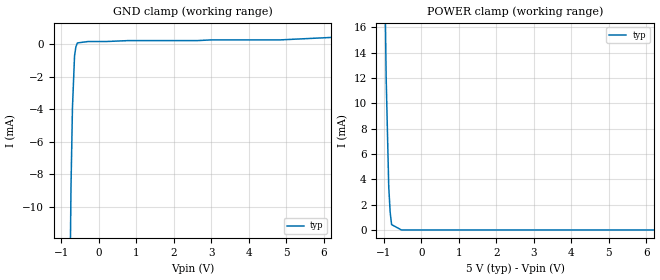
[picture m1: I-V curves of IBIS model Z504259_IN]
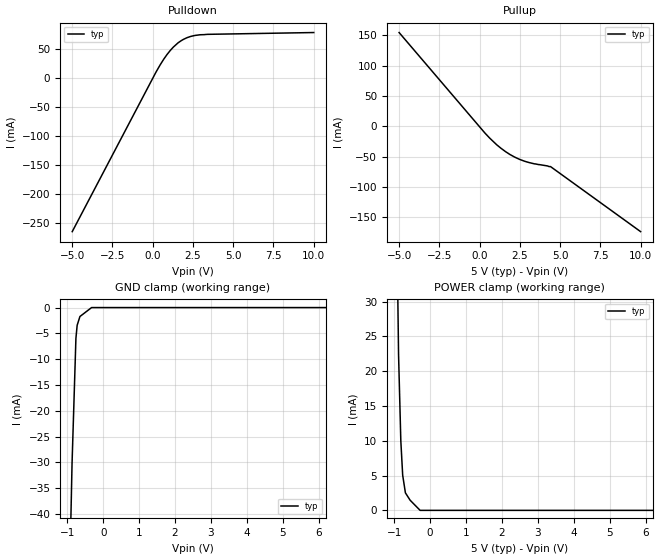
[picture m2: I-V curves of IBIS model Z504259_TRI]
| YOU ARE ONLY AUTHORIZED TO USE THIS SOFTWARE
| ACCORDING TO LICENSOR'S LICENSE RESTRICTIONS.
[IBIS Ver] 3.1
[File Name] mc74hc541adw.ibs
[File Rev] 2.0
[Source] Measured and created by ICX Technology
[Date] Friday 7/14/00 9:08:10 AM
[Copyright]
| (C) COPYRIGHT 1993-2000
| MENTOR GRAPHICS CORPORATION
| ICX STANDARD LIBRARY, ICX PROJECT MODELING,
| ICX CUSTOM MODELING, ICX VENDOR MODEL
| ALL RIGHTS RESERVED.
| THE FOLLOWING ARE TRADEMARKS OR SERVICE MARKS OF
| MENTOR GRAPHICS CORPORATION:ICX (R), ICX STANDARD
| LIBRARY(R), ICX PROJECT MODELING(R), ICX CUSTOM
| MODELING(R), qualityIBIS(TM), MODELVIEWER(TM),
| AND MODELEDITOR(TM)
| ALL COPIES OF SOFTWARE, INCLUDING BUT NOT LIMITED TO
| ANY MODIFICATIONS, ENHANCEMENTS OR DERIVATIVE WORKS,
| MUST CONTAIN ALL MENTOR GRAPHICS CORPORATION'S
| NOTICES AND LEGENDS, INCLUDING THOSE EMBEDDED IN
| SOFTWARE AND THOSE AFFIXED TO SOFTWARE MEDIUM
| AND CONTAINER, AS RECEIVED FROM MENTOR GRAPHICS
| CORPORATION.
|  ZAP Model Builder 2.7
[Component] MC74HC541ADW
[Manufacturer] OnSemiconductor
[Package]
| variable   typ   min   max
R_pkg  .178ohms NA NA
L_pkg  4.43nH NA NA
C_pkg  .62pF NA NA
[Pin] signal_name  model_name  R_pin  L_pin C_pin
1 _G1 Z504259_IN .186 5.37n .68p
2 A0 Z504259_IN .182 4.89n .65p
3 A1 Z504259_IN .178 4.42n .62p
4 A2 Z504259_IN .174 3.96n .59p
5 A3 Z504259_IN .17 3.51n .56p
6 A4 Z504259_IN .17 3.51n .56p
7 A5 Z504259_IN .174 3.96n .59p
8 A6 Z504259_IN .178 4.42n .62p
9 A7 Z504259_IN .182 4.89n .65p
10 GROUND GND .186 5.37n .68p
11 Y7 Z504259_TRI .186 5.37n .68p
12 Y6 Z504259_TRI .182 4.89n .65p
13 Y5 Z504259_TRI .178 4.42n .62p
14 Y4 Z504259_TRI .174 3.96n .59p
15 Y3 Z504259_TRI .17 3.51n .56p
16 Y2 Z504259_TRI .17 3.51n .56p
17 Y1 Z504259_TRI .174 3.96n .59p
18 Y0 Z504259_TRI .178 4.42n .62p
19 _G2 Z504259_IN .182 4.89n .65p
20 VCC POWER .186 5.37n .68p
| Models and submodels in the file (2): Z504259_IN (Input), Z504259_TRI (3-state)
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| (C) COPYRIGHT 1993-2000
| MENTOR GRAPHICS CORPORATION
| ICX STANDARD LIBRARY, ICX PROJECT MODELING,
| ICX CUSTOM MODELING, ICX VENDOR MODEL
| ALL RIGHTS RESERVED.
| THE FOLLOWING ARE TRADEMARKS OR SERVICE MARKS OF
| MENTOR GRAPHICS CORPORATION:ICX (R), ICX STANDARD
| LIBRARY(R), ICX PROJECT MODELING(R), ICX CUSTOM
| MODELING(R), qualityIBIS(TM), MODELVIEWER(TM),
| AND MODELEDITOR(TM)
| ALL COPIES OF SOFTWARE, INCLUDING BUT NOT LIMITED TO
| ANY MODIFICATIONS, ENHANCEMENTS OR DERIVATIVE WORKS,
| MUST CONTAIN ALL MENTOR GRAPHICS CORPORATION'S
| NOTICES AND LEGENDS, INCLUDING THOSE EMBEDDED IN
| SOFTWARE AND THOSE AFFIXED TO SOFTWARE MEDIUM
| AND CONTAINER, AS RECEIVED FROM MENTOR GRAPHICS
| CORPORATION.
| Model Application Version 1.89 2/18/99.
[Model] Z504259_IN
Model_type Input
Vinl = 1.000V
Vinh = 3.500V
C_comp 4.000pF NA NA
| variable typ   min   max
[Voltage Range] 5.000V NA NA
[GND Clamp Reference] 0.000V NA NA
[POWER Clamp Reference] 5.000V NA NA
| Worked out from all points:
|   GND clamp passes 1 mA (typ) near -0.65 V on its own axis
|   POWER clamp passes 1 mA (typ) near -0.82 V on its own axis
[GND Clamp]
-5V       -1.345A    NA         NA
-1.061V   -82.34mA   NA         NA
-742.2mV  -8.812mA   NA         NA
-703.1mV  -3.911mA   NA         NA
-647.3mV  -695.3uA   NA         NA
-610.2mV  -134.9uA   NA         NA
-571.3mV  91.58uA    NA         NA
-285.7mV  178.3uA    NA         NA
786.3mV   234.5uA    NA         NA
4.834V    278.4uA    NA         NA
10V       852.4uA    NA         NA
[POWER Clamp]
-5V       2.261A     NA         NA
-1.333V   166mA      NA         NA
-1.176V   89.37mA    NA         NA
-1.092V   55.21mA    NA         NA
-1.005V   27.27mA    NA         NA
-938mV    12.08mA    NA         NA
-869mV    3.424mA    NA         NA
-831mV    1.405mA    NA         NA
-793mV    423.6uA    NA         NA
-528.7mV  0A         NA         NA
10V       0A         NA         NA
| (C) COPYRIGHT 1993-2000
| MENTOR GRAPHICS CORPORATION
| ICX STANDARD LIBRARY, ICX PROJECT MODELING,
| ICX CUSTOM MODELING, ICX VENDOR MODEL
| ALL RIGHTS RESERVED.
| THE FOLLOWING ARE TRADEMARKS OR SERVICE MARKS OF
| MENTOR GRAPHICS CORPORATION:ICX (R), ICX STANDARD
| LIBRARY(R), ICX PROJECT MODELING(R), ICX CUSTOM
| MODELING(R), qualityIBIS(TM), MODELVIEWER(TM),
| AND MODELEDITOR(TM)
| ALL COPIES OF SOFTWARE, INCLUDING BUT NOT LIMITED TO
| ANY MODIFICATIONS, ENHANCEMENTS OR DERIVATIVE WORKS,
| MUST CONTAIN ALL MENTOR GRAPHICS CORPORATION'S
| NOTICES AND LEGENDS, INCLUDING THOSE EMBEDDED IN
| SOFTWARE AND THOSE AFFIXED TO SOFTWARE MEDIUM
| AND CONTAINER, AS RECEIVED FROM MENTOR GRAPHICS
| CORPORATION.
| Model Application Version 1.89 2/18/99.
[Model] Z504259_TRI
Model_type 3-state
Vref=0.000V
Rref=500.0Mohms
Cref=50.00pF
Vmeas=2.500V
C_comp 8.000pF NA NA
| variable typ   min   max
[Voltage Range] 5.000V NA NA
[POWER Clamp Reference] 5.000V NA NA
[Pullup Reference] 5.000V NA NA
[Pulldown Reference] 0.000V NA NA
[GND Clamp Reference] 0.000V NA NA
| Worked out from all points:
|   slope of the pulldown table from 0 to 0.75 V, typ, clamps not added: 21 ohm
|   slope of the pullup table from 0 to 0.75 V, typ, clamps not added: 34.5 ohm
[GND Clamp]
-5V       -1.04A     NA         NA
-1.079V   -98.94mA   NA         NA
-868.6mV  -30.21mA   NA         NA
-760.8mV  -5.959mA   NA         NA
-726.4mV  -3.432mA   NA         NA
-649.2mV  -1.732mA   NA         NA
-324.6mV  0A         NA         NA
10V       0A         NA         NA
[Pulldown]
-5V       -264.7mA   NA         NA
195.7mV   10.58mA    NA         NA
459.9mV   23.37mA    NA         NA
898.4mV   41.72mA    NA         NA
1.284V    54.23mA    NA         NA
1.578V    61.6mA     NA         NA
2.124V    70.36mA    NA         NA
2.959V    75.47mA    NA         NA
10V       79.29mA    NA         NA
[Pullup]
-5V       154.8mA    NA         NA
332mV     -11.03mA   NA         NA
1.065V    -30.4mA    NA         NA
1.885V    -46.37mA   NA         NA
2.477V    -54.32mA   NA         NA
3.409V    -61.8mA    NA         NA
4.404V    -66.29mA   NA         NA
10V       -173.6mA   NA         NA
[POWER Clamp]
-5V       2.757A     NA         NA
-1.22V    196.5mA    NA         NA
-1.016V   76.91mA    NA         NA
-879mV    22.43mA    NA         NA
-816mV    10.02mA    NA         NA
-764mV    5.053mA    NA         NA
-688mV    2.517mA    NA         NA
-557mV    1.461mA    NA         NA
-278.5mV  0A         NA         NA
10V       0A         NA         NA
[Ramp]
| variable typ min max
dV/dt_r 2.834/2.742n NA NA
dV/dt_f 2.834/1.479n NA NA
R_load = 500.0Ohms
